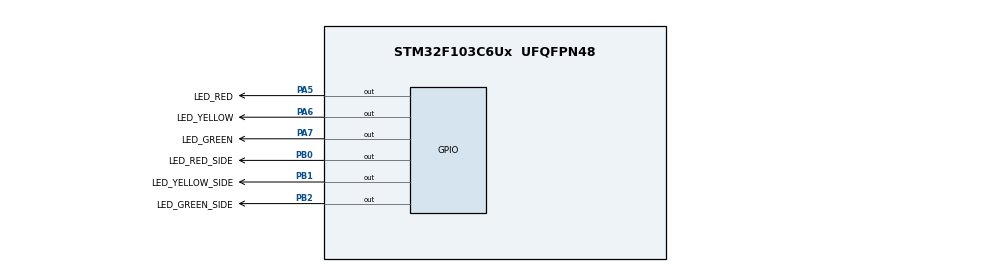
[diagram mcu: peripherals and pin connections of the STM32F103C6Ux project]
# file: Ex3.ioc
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Mcu.Family=STM32F1
Mcu.Name=STM32F103C6Ux
Mcu.Package=UFQFPN48
NVIC.PriorityGroup=NVIC_PRIORITYGROUP_4
PA5.GPIO_Label=LED_RED
PA5.Signal=GPIO_Output
PA6.GPIO_Label=LED_YELLOW
PA6.Signal=GPIO_Output
PA7.GPIO_Label=LED_GREEN
PA7.Signal=GPIO_Output
PB0.GPIO_Label=LED_RED_SIDE
PB0.Signal=GPIO_Output
PB1.GPIO_Label=LED_YELLOW_SIDE
PB1.Signal=GPIO_Output
PB2.GPIO_Label=LED_GREEN_SIDE
PB2.Signal=GPIO_Output
ProjectManager.HeapSize=0x200
ProjectManager.StackSize=0x400
ProjectManager.TargetToolchain=STM32CubeIDE
RCC.APB1Freq_Value=8000000
RCC.APB2Freq_Value=8000000
VP_SYS_VS_ND.Mode=No_Debug
board=custom

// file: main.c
/* USER CODE BEGIN Header */
/**
  ******************************************************************************
  * @file           : main.c
  * @brief          : Main program body
  ******************************************************************************
  * @attention
  *
  * <h2><center>&copy; Copyright (c) 2024 STMicroelectronics.
  * All rights reserved.</center></h2>
  *
  * This software component is licensed by ST under BSD 3-Clause license,
  * the "License"; You may not use this file except in compliance with the
  * License. You may obtain a copy of the License at:
  *                        opensource.org/licenses/BSD-3-Clause
  *
  ******************************************************************************
  */
/* USER CODE END Header */
#include "main.h"

/* USER CODE BEGIN PV */
const int redTime = 5;
const int yellowTime = 2;
const int greenTime = 3;
/* USER CODE END PV */

void SystemClock_Config(void);
static void MX_GPIO_Init(void);

/* USER CODE BEGIN 0 */
void toggleRed(int state) {
    HAL_GPIO_WritePin(LED_RED_GPIO_Port, LED_RED_Pin, state ? SET : RESET);
}

void toggleYellow(int state) {
    HAL_GPIO_WritePin(LED_YELLOW_GPIO_Port, LED_YELLOW_Pin, state ? SET : RESET);
}

void toggleGreen(int state) {
    HAL_GPIO_WritePin(LED_GREEN_GPIO_Port, LED_GREEN_Pin, state ? SET : RESET);
}

void toggleRedSide(int state) {
    HAL_GPIO_WritePin(LED_RED_SIDE_GPIO_Port, LED_RED_SIDE_Pin, state ? SET : RESET);
}

void toggleYellowSide(int state) {
    HAL_GPIO_WritePin(LED_YELLOW_SIDE_GPIO_Port, LED_YELLOW_SIDE_Pin, state ? SET : RESET);
}

void toggleGreenSide(int state) {
    HAL_GPIO_WritePin(LED_GREEN_SIDE_GPIO_Port, LED_GREEN_SIDE_Pin, state ? SET : RESET);
}
/* USER CODE END 0 */

int main(void)
{

  /* MCU Configuration--------------------------------------------------------*/

  /* Reset of all peripherals, Initializes the Flash interface and the Systick. */
  HAL_Init();

  /* Configure the system clock */
  SystemClock_Config();

  /* Initialize all configured peripherals */
  MX_GPIO_Init();

  /* Infinite loop */
  /* USER CODE BEGIN WHILE */
  int curState = 0;
  int curSideState = 1;
  int counter = 0;
  int counterSide = 0;
  while (1)
  {
    /* USER CODE END WHILE */
	  int nextState = curState;
	  if (counter == 0){
		  switch (curState){
		  case 0:{
			  nextState = 1;
			  counter = redTime;
			  toggleRed(1);
			  toggleYellow(0);
			  toggleGreen(0);
			  break;
		  }
		  case 1:{
			  nextState = 2;
			  counter = greenTime;
			  toggleRed(0);
			  toggleYellow(0);
			  toggleGreen(1);
			  break;
		  }
		  case 2:{
			  nextState = 0;
			  counter = yellowTime;
			  toggleRed(0);
			  toggleYellow(1);
			  toggleGreen(0);
			  break;
		  }
		  }
	  }
	  else counter--;
	  curState = nextState;

	  int nextSideState = curSideState;
	  if (counterSide == 0){
		  switch (curSideState){
		  case 0:{
			  nextSideState = 1;
			  counterSide = redTime;
			  toggleRedSide(1);
			  toggleYellowSide(0);
			  toggleGreenSide(0);
			  break;
		  }
		  case 1:{
			  nextSideState = 2;
			  counterSide = greenTime;
			  toggleRedSide(0);
			  toggleYellowSide(0);
			  toggleGreenSide(1);
			  break;
		  }
		  case 2:{
			  nextSideState = 0;
			  counterSide = yellowTime;
			  toggleRedSide(0);
			  toggleYellowSide(1);
			  toggleGreenSide(0);
			  break;
		  }
		  }
	  }
	  else counterSide--;
	  curSideState = nextSideState;
	  HAL_Delay(1000);
  }
}

void SystemClock_Config(void)
{
  RCC_OscInitTypeDef RCC_OscInitStruct = {0};
  RCC_ClkInitTypeDef RCC_ClkInitStruct = {0};

  /** Initializes the RCC Oscillators according to the specified parameters
  * in the RCC_OscInitTypeDef structure.
  */
  RCC_OscInitStruct.OscillatorType = RCC_OSCILLATORTYPE_HSI;
  RCC_OscInitStruct.HSIState = RCC_HSI_ON;
  RCC_OscInitStruct.HSICalibrationValue = RCC_HSICALIBRATION_DEFAULT;
  RCC_OscInitStruct.PLL.PLLState = RCC_PLL_NONE;
  if (HAL_RCC_OscConfig(&RCC_OscInitStruct) != HAL_OK)
  {
    Error_Handler();
  }
  /** Initializes the CPU, AHB and APB buses clocks
  */
  RCC_ClkInitStruct.ClockType = RCC_CLOCKTYPE_HCLK|RCC_CLOCKTYPE_SYSCLK
                              |RCC_CLOCKTYPE_PCLK1|RCC_CLOCKTYPE_PCLK2;
  RCC_ClkInitStruct.SYSCLKSource = RCC_SYSCLKSOURCE_HSI;
  RCC_ClkInitStruct.AHBCLKDivider = RCC_SYSCLK_DIV1;
  RCC_ClkInitStruct.APB1CLKDivider = RCC_HCLK_DIV1;
  RCC_ClkInitStruct.APB2CLKDivider = RCC_HCLK_DIV1;

  if (HAL_RCC_ClockConfig(&RCC_ClkInitStruct, FLASH_LATENCY_0) != HAL_OK)
  {
    Error_Handler();
  }
}

static void MX_GPIO_Init(void)
{
  GPIO_InitTypeDef GPIO_InitStruct = {0};

  /* GPIO Ports Clock Enable */
  __HAL_RCC_GPIOA_CLK_ENABLE();
  __HAL_RCC_GPIOB_CLK_ENABLE();

  /*Configure GPIO pin Output Level */
  HAL_GPIO_WritePin(GPIOA, LED_RED_Pin|LED_YELLOW_Pin|LED_GREEN_Pin, GPIO_PIN_RESET);

  /*Configure GPIO pin Output Level */
  HAL_GPIO_WritePin(GPIOB, LED_RED_SIDE_Pin|LED_YELLOW_SIDE_Pin|LED_GREEN_SIDE_Pin, GPIO_PIN_RESET);

  /*Configure GPIO pins : LED_RED_Pin LED_YELLOW_Pin LED_GREEN_Pin */
  GPIO_InitStruct.Pin = LED_RED_Pin|LED_YELLOW_Pin|LED_GREEN_Pin;
  GPIO_InitStruct.Mode = GPIO_MODE_OUTPUT_PP;
  GPIO_InitStruct.Pull = GPIO_NOPULL;
  GPIO_InitStruct.Speed = GPIO_SPEED_FREQ_LOW;
  HAL_GPIO_Init(GPIOA, &GPIO_InitStruct);

  /*Configure GPIO pins : LED_RED_SIDE_Pin LED_YELLOW_SIDE_Pin LED_GREEN_SIDE_Pin */
  GPIO_InitStruct.Pin = LED_RED_SIDE_Pin|LED_YELLOW_SIDE_Pin|LED_GREEN_SIDE_Pin;
  GPIO_InitStruct.Mode = GPIO_MODE_OUTPUT_PP;
  GPIO_InitStruct.Pull = GPIO_NOPULL;
  GPIO_InitStruct.Speed = GPIO_SPEED_FREQ_LOW;
  HAL_GPIO_Init(GPIOB, &GPIO_InitStruct);

}

void Error_Handler(void)
{
  __disable_irq();
  while (1)
  {
  }
}

/************************ (C) COPYRIGHT STMicroelectronics *****END OF FILE****/
